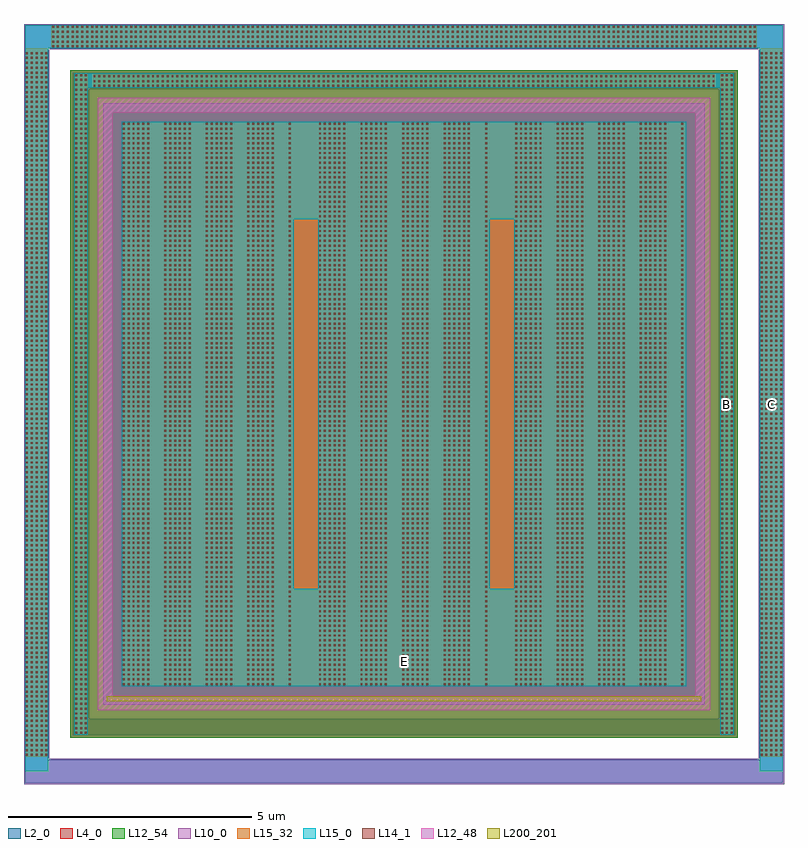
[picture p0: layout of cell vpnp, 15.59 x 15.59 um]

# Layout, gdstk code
import gdstk
lib = gdstk.Library(unit=1e-6, precision=1e-09)
def R(c, l, rs):  # rectangles x0, y0, x1, y1
    for r in rs: c.add(gdstk.rectangle(r[:2], r[2:], *l))
def A(c, l, x, y, w, h, nx, ny, dx, dy):  # array of equal rectangles
    R(c, l, [(x+i*dx, y+j*dy, x+i*dx+w, y+j*dy+h) for i in range(nx) for j in range(ny)])
L2_0 = (2, 0)
L4_0 = (4, 0)
L10_0 = (10, 0)
L12_48 = (12, 48)
L12_54 = (12, 54)
L14_1 = (14, 1)
L15_0 = (15, 0)
L15_32 = (15, 32)
L200_201 = (200, 201)

vpnp = lib.new_cell('vpnp')
R(vpnp, L2_0, [(-14.279,-6.309,1.273,-5.829), (-14.279,-5.829,-13.799,8.763), (0.793,-5.829,1.273,8.763), (-13.299,-5.329,0.293,-4.989), (-13.299,-4.989,-12.959,7.923), (-0.047,-4.989,0.293,7.923), (-12.603,-4.633,-0.403,7.567), (-13.299,7.923,0.293,8.263), (-14.279,8.763,1.273,9.243)])
R(vpnp, L4_0, [(-13.355,-5.385,0.349,8.319)])
R(vpnp, L10_0, [(-14.3,-6.33,1.294,-5.808), (-14.3,-5.808,-13.778,8.742), (0.772,-5.808,1.294,8.742), (-12.673,-4.703,-0.333,7.637), (-14.3,8.742,1.294,9.264)])
R(vpnp, L12_48, [(-12.784,-4.814,-0.222,-4.508), (-12.784,-4.508,-12.478,7.442), (-0.528,-4.508,-0.222,7.442), (-12.784,7.442,-0.222,7.748)])
R(vpnp, L12_54, [(-13.355,-5.385,0.349,8.319)])
A(vpnp, L14_1, -14.259, -5.753, 0.04, 0.04, 5, 145, 0.1, 0.1)
A(vpnp, L14_1, 0.813, -5.753, 0.04, 0.04, 5, 145, 0.1, 0.1)
A(vpnp, L14_1, -13.249, -5.303, 0.04, 0.04, 3, 136, 0.1, 0.1)
A(vpnp, L14_1, 0.003, -5.303, 0.04, 0.04, 3, 136, 0.1, 0.1)
A(vpnp, L14_1, -12.273, -4.303, 0.04, 0.04, 6, 116, 0.1, 0.1)
A(vpnp, L14_1, -11.421, -4.303, 0.04, 0.04, 6, 116, 0.1, 0.1)
A(vpnp, L14_1, -10.569, -4.303, 0.04, 0.04, 6, 116, 0.1, 0.1)
A(vpnp, L14_1, -9.717, -4.303, 0.04, 0.04, 6, 116, 0.1, 0.1)
A(vpnp, L14_1, -8.865, -4.303, 0.04, 0.04, 1, 116, 0, 0.1)
A(vpnp, L14_1, -8.247, -4.303, 0.04, 0.04, 6, 116, 0.1, 0.1)
A(vpnp, L14_1, -7.395, -4.303, 0.04, 0.04, 6, 116, 0.1, 0.1)
A(vpnp, L14_1, -6.543, -4.303, 0.04, 0.04, 6, 116, 0.1, 0.1)
A(vpnp, L14_1, -5.691, -4.303, 0.04, 0.04, 6, 116, 0.1, 0.1)
A(vpnp, L14_1, -4.839, -4.303, 0.04, 0.04, 1, 116, 0, 0.1)
A(vpnp, L14_1, -4.222, -4.303, 0.04, 0.04, 6, 116, 0.1, 0.1)
A(vpnp, L14_1, -3.37, -4.303, 0.04, 0.04, 6, 116, 0.1, 0.1)
A(vpnp, L14_1, -2.518, -4.303, 0.04, 0.04, 6, 116, 0.1, 0.1)
A(vpnp, L14_1, -1.666, -4.303, 0.04, 0.04, 6, 116, 0.1, 0.1)
A(vpnp, L14_1, -0.814, -4.303, 0.04, 0.04, 1, 116, 0, 0.1)
A(vpnp, L14_1, -12.873, 7.973, 0.04, 0.04, 128, 3, 0.1, 0.1)
A(vpnp, L14_1, -13.723, 8.783, 0.04, 0.04, 145, 5, 0.1, 0.1)
R(vpnp, L15_0, [(-14.277,-6.069,-13.801,9.241), (0.795,-6.069,1.271,9.241), (-13.267,-5.321,-12.991,8.255), (-0.015,-5.321,0.261,8.255), (-12.291,-4.321,-0.715,-2.321), (-12.291,-2.321,-8.766,5.255), (-8.265,-2.321,-4.74,5.255), (-4.24,-2.321,-0.715,5.255), (-12.291,5.255,-0.715,7.255), (-12.991,7.955,-0.015,8.255), (-13.801,8.765,0.795,9.241)])
R(vpnp, L15_32, [(-14.277,-5.771,-13.801,8.765), (0.795,-5.771,1.271,8.765), (-13.267,-5.321,-12.991,8.255), (-0.015,-5.321,0.261,8.255), (-12.291,-4.321,-0.715,7.255), (-12.891,7.955,-0.115,8.231), (-13.741,8.765,0.735,9.241)])
R(vpnp, L200_201, [(-12.603,-4.633,-0.403,-4.533)])
vpnp.add(gdstk.Label('E', (-6.503,-3.821), layer=15, texttype=20))
vpnp.add(gdstk.Label('B', (0.123,1.467), layer=15, texttype=20))
vpnp.add(gdstk.Label('C', (1.033,1.467), layer=15, texttype=20))

lib.write_gds('vpnp.gds')
